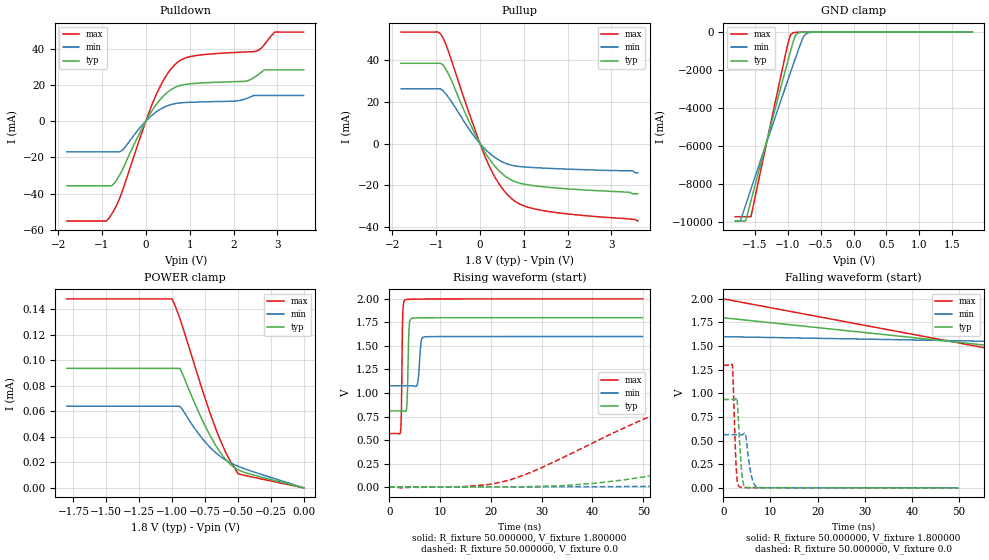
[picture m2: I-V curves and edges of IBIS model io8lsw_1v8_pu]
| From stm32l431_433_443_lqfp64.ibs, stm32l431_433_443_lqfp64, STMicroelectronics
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|   Model io8lsw_1v8_pu
[Model]  io8lsw_1v8_pu
Model_type I/O
Polarity   Non-Inverting
Enable   Active-Low
Vinl =   0.540000V
Vinh =   1.260000V
Vmeas =  0.900000V
Cref =   100.000000nF
Rref =   1.000000k
Vref =   1.800000V
C_comp   3.002600pF   2.845500pF   3.023700pF
[Temperature Range]   25.000000   0.125000k   -40.000000
[Pullup Reference]   1.800000V   1.600000V   2.000000V
[Pulldown Reference]   0.0V   0.0V   0.0V
[POWER Clamp Reference]   1.800000V   1.600000V   2.000000V
[GND Clamp Reference]   0.0V   0.0V   0.0V
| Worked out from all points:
|   slope of the pulldown table from 0 to 0.27 V, typ, clamps not added: 26.4 ohm
|   slope of the pullup table from 0 to 0.27 V, typ, clamps not added: 30.1 ohm
|   GND clamp passes 1 mA (typ) near -0.58 V on its own axis
|   rising waveform, R_fixture 50.000000, V_fixture 1.800000: 20-80 % time 262ps typ, 404ps min, 194ps max; typ from 0.81 V to 1.8 V
|   rising waveform, R_fixture 50.000000, V_fixture 0.0: 20-80 % time 64.6ns typ, 115ns min, 35.9ns max; typ from 0.001 V to 0.935 V
|   falling waveform, R_fixture 50.000000, V_fixture 1.800000: 20-80 % time 119ns typ, 161ns min, 92ns max; typ from 1.8 V to 0.81 V
|   falling waveform, R_fixture 50.000000, V_fixture 0.0: 20-80 % time 712ps typ, 1.02ns min, 551ps max; typ from 0.935 V to 0.001 V
[Pulldown]
|Voltage   I(typ)   I(min)   I(max)
-1.8V     -35.64mA   -16.93mA   -55.1mA
-840mV    -35.64mA   -16.93mA   -53.52mA
-720mV    -34.31mA   -16.93mA   -48.86mA
-540mV    -27.04mA   -16.13mA   -38.89mA
240mV     9.303mA    5.14mA     14.78mA
480mV     15.67mA    8.374mA    25.64mA
720mV     19.18mA    9.883mA    32.46mA
1.14V     20.87mA    10.54mA    36.19mA
2.28V     22.08mA    12.36mA    38.18mA
2.52V     24.96mA    14.18mA    38.63mA
2.94V     28.28mA    14.18mA    49.19mA
3.6V      28.28mA    14.18mA    49.19mA
[Pullup]
|Voltage   I(typ)   I(min)   I(max)
-1.8V     38.3mA     26.13mA    53.22mA
-900mV    38.3mA     26.13mA    52.41mA
-840mV    37.48mA    25.14mA    50.32mA
-720mV    33.24mA    22.06mA    44.02mA
-240mV    10.08mA    6.588mA    14.1mA
120mV     -4.38mA    -2.702mA   -6.45mA
420mV     -12.68mA   -7.723mA   -18.77mA
720mV     -17.48mA   -10.36mA   -26.28mA
1.02V     -19.45mA   -11.2mA    -29.88mA
1.44V     -20.65mA   -11.73mA   -32.03mA
3.48V     -24mA      -13mA      -36.2mA
3.6V      -24mA      -14mA      -37mA
[GND_clamp]
|Voltage   I(typ)   I(min)   I(max)
-1.8V     -9.93A     -9.932A    -9.707A
-1.72V    -9.93A     -9.932A    -9.707A
-1.64V    -9.93A     -9.083A    -9.707A
-1.56V    -8.876A    -8.251A    -9.707A
-1V       -1.54A     -2.541A    -631mA
-960mV    -1.028A    -2.139A    -153.7mA
-920mV    -527mA     -1.74A     -39.12mA
-880mV    -155.6mA   -1.344A    -18.01mA
-840mV    -45.32mA   -953mA     -12.68mA
-760mV    -8.418mA   -235mA     -7.62mA
-680mV    -3.44mA    -33.01mA   -3.865mA
1.8V      0A         0A         0A
[POWER_clamp]
|Voltage   I(typ)   I(min)   I(max)
-1.8V     93.65uA    63.98uA    148.1uA
-1V       93.65uA    63.98uA    148.1uA
-940mV    93.65uA    63.82uA    132.2uA
-780mV    55.19uA    39.85uA    79.88uA
-720mV    42.64uA    32.64uA    61.13uA
-680mV    35.2uA     28.59uA    49.56uA
-640mV    28.65uA    25.14uA    38.93uA
-600mV    23.11uA    22.24uA    29.46uA
-560mV    18.7uA     19.84uA    21.37uA
-500mV    14.28uA    16.96uA    11.08uA
-400mV    10.58uA    13.2uA     8.679uA
0V        0A         0A         0A
[Ramp]
| variable   typ   min   max
dV/dt_r  0.56073/64.48333n   0.33705/0.11522u   0.77863/35.84956n
dV/dt_f  0.59394/66.74330n   0.31050/0.11333u   0.85870/35.25468n
R_load = 50.000000
[Rising Waveform]
R_fixture= 50.000000
V_fixture= 1.800000
V_fixture_min= 1.600000
V_fixture_max= 2.000000
|time   V(typ)   V(min)   V(max)
0s        809.8mV    1.076V     568.8mV
2.202ns   809.8mV    1.076V     576.6mV
2.402ns   809.8mV    1.076V     805.7mV
2.703ns   809.5mV    1.076V     1.884V
3.203ns   802.7mV    1.077V     1.991V
3.504ns   894.3mV    1.077V     1.994V
3.904ns   1.685V     1.077V     1.995V
4.505ns   1.794V     1.076V     1.996V
6.807ns   1.799V     1.595V     1.998V
49.85ns   1.8V       1.6V       2V
[Rising Waveform]
R_fixture= 50.000000
V_fixture= 0.0
V_fixture_min= 0.0
V_fixture_max= 0.0
|time   V(typ)   V(min)   V(max)
0s        727.6uV    1.154mV    483.6uV
14.41ns   2.296mV    2.585mV    4.727mV
24.02ns   3.478mV    2.604mV    81.38mV
54.05ns   145.8mV    8.363mV    807.9mV
72.07ns   336.7mV    27.57mV    1.09V
104.5ns   638.2mV    115.6mV    1.257V
135.7ns   802.5mV    228.1mV    1.286V
168.2ns   879.9mV    335.3mV    1.295V
258.3ns   930.5mV    502.4mV    1.298V
598.2ns   935.3mV    563.1mV    1.298V
[Falling Waveform]
R_fixture= 50.000000
V_fixture= 1.800000
V_fixture_min= 1.600000
V_fixture_max= 2.000000
|time   V(typ)   V(min)   V(max)
0s        1.8V       1.6V       2V
150.2ns   1.017V     1.47V      598.4mV
300.3ns   821.6mV    1.141V     569.5mV
450.5ns   810.7mV    1.089V     568.8mV
750.8ns   809.8mV    1.077V     568.8mV
14.86us   809.8mV    1.076V     568.8mV
[Falling Waveform]
R_fixture= 50.000000
V_fixture= 0.0
V_fixture_min= 0.0
V_fixture_max= 0.0
|time   V(typ)   V(min)   V(max)
0s        935.3mV    563.1mV    1.298V
1.902ns   935.3mV    563.1mV    1.306V
2.803ns   954.5mV    563.1mV    158.3mV
3.504ns   442.2mV    562.8mV    9.067mV
4.004ns   126mV      562.7mV    3.975mV
4.404ns   23.78mV    574mV      3.1mV
4.805ns   6.473mV    541.2mV    2.827mV
5.906ns   1.644mV    140.3mV    2.621mV
7.207ns   1.345mV    5.012mV    2.515mV
49.85ns   727.6uV    1.154mV    483.6uV
